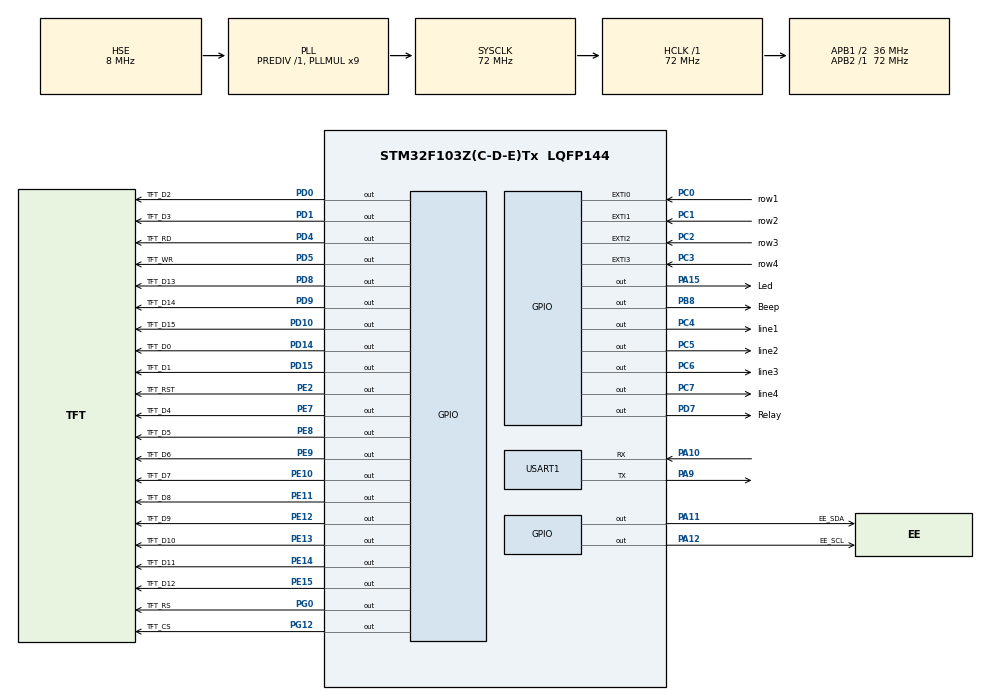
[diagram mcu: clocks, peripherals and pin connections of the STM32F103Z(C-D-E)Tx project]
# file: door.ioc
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FREERTOS.Queues01=Alarmmsg,10,uint16_t,0,Dynamic,NULL,NULL;Settimee,4,uint16_t,0,Dynamic,NULL,NULL;Display,16,uint16_t,0,Dynamic,NULL,NULL;sleep,4,uint16_t,0,Dynamic,NULL,NULL
FREERTOS.Tasks01=defaultTask,24,128,StartDefaultTask,Default,NULL,Dynamic,NULL,NULL;WarnLock,17,192,WarnLocktask,Default,NULL,Dynamic,NULL,NULL;key_scan,16,192,key_scantask,Default,NULL,Dynamic,NULL,NULL;Manage,16,256,ManageTask,Default,NULL,Dynamic,NULL,NULL;Openkey,15,256,OpenkeyTask,Default,NULL,Dynamic,NULL,NULL;Show,13,256,ShowTask,Default,NULL,Dynamic,NULL,NULL;Time,8,128,TimeTask,Default,NULL,Dynamic,NULL,NULL;Sleep,8,128,SleepTask,Default,NULL,Dynamic,NULL,NULL;Initial,8,128,InitialTask,Default,NULL,Dynamic,NULL,NULL
FREERTOS.Timers01=Alarm,alarmback01,osTimerOnce,Default,NULL,Dynamic,NULL;Sleeptask,sleepCallback02,osTimerPeriodic,Default,NULL,Dynamic,NULL
FREERTOS.configTOTAL_HEAP_SIZE=32768
Mcu.Family=STM32F1
Mcu.Name=STM32F103Z(C-D-E)Tx
Mcu.Package=LQFP144
NVIC.EXTI0_IRQn=true\:5\:0\:false\:false\:true\:true\:true\:true\:true
NVIC.EXTI1_IRQn=true\:5\:0\:false\:false\:true\:true\:true\:true\:true
NVIC.EXTI2_IRQn=true\:5\:0\:false\:false\:true\:true\:true\:true\:true
NVIC.EXTI3_IRQn=true\:5\:0\:false\:false\:true\:true\:true\:true\:true
NVIC.PriorityGroup=NVIC_PRIORITYGROUP_4
NVIC.RCC_IRQn=true\:5\:0\:true\:false\:true\:true\:true\:false\:true
NVIC.TIM8_UP_IRQn=true\:15\:0\:false\:false\:true\:false\:false\:true\:true
NVIC.TimeBase=TIM8_UP_IRQn
NVIC.TimeBaseIP=TIM8
OSC_IN.Mode=HSE-External-Oscillator
OSC_IN.Signal=RCC_OSC_IN
OSC_OUT.Mode=HSE-External-Oscillator
OSC_OUT.Signal=RCC_OSC_OUT
PA10.Mode=Asynchronous
PA10.Signal=USART1_RX
PA11.GPIO_Label=EE_SDA
PA11.GPIO_PuPd=GPIO_PULLUP
PA11.GPIO_Speed=GPIO_SPEED_FREQ_HIGH
PA11.PinState=GPIO_PIN_SET
PA11.Signal=GPIO_Output
PA12.GPIO_Label=EE_SCL
PA12.GPIO_PuPd=GPIO_PULLUP
PA12.GPIO_Speed=GPIO_SPEED_FREQ_HIGH
PA12.PinState=GPIO_PIN_SET
PA12.Signal=GPIO_Output
PA13.Mode=Serial_Wire
PA13.Signal=SYS_JTMS-SWDIO
PA14.Mode=Serial_Wire
PA14.Signal=SYS_JTCK-SWCLK
PA15.GPIO_Label=Led
PA15.GPIO_Speed=GPIO_SPEED_FREQ_MEDIUM
PA15.PinState=GPIO_PIN_SET
PA15.Signal=GPIO_Output
PA9.Mode=Asynchronous
PA9.Signal=USART1_TX
PB8.GPIO_Label=Beep
PB8.GPIO_Speed=GPIO_SPEED_FREQ_MEDIUM
PB8.PinState=GPIO_PIN_SET
PB8.Signal=GPIO_Output
PC0.GPIO_Label=row1
PC0.GPIO_ModeDefaultEXTI=GPIO_MODE_IT_FALLING
PC0.GPIO_PuPd=GPIO_PULLUP
PC0.Signal=GPXTI0
PC1.GPIO_Label=row2
PC1.GPIO_ModeDefaultEXTI=GPIO_MODE_IT_FALLING
PC1.GPIO_PuPd=GPIO_PULLUP
PC1.Signal=GPXTI1
PC14-OSC32_IN.Mode=LSE-External-Oscillator
PC14-OSC32_IN.Signal=RCC_OSC32_IN
PC15-OSC32_OUT.Mode=LSE-External-Oscillator
PC15-OSC32_OUT.Signal=RCC_OSC32_OUT
PC2.GPIO_Label=row3
PC2.GPIO_ModeDefaultEXTI=GPIO_MODE_IT_FALLING
PC2.GPIO_PuPd=GPIO_PULLUP
PC2.Signal=GPXTI2
PC3.GPIO_Label=row4
PC3.GPIO_ModeDefaultEXTI=GPIO_MODE_IT_FALLING
PC3.GPIO_PuPd=GPIO_PULLUP
PC3.Signal=GPXTI3
PC4.GPIO_Label=line1
PC4.GPIO_Speed=GPIO_SPEED_FREQ_MEDIUM
PC4.Signal=GPIO_Output
PC5.GPIO_Label=line2
PC5.GPIO_Speed=GPIO_SPEED_FREQ_MEDIUM
PC5.Signal=GPIO_Output
PC6.GPIO_Label=line3
PC6.GPIO_Speed=GPIO_SPEED_FREQ_MEDIUM
PC6.Signal=GPIO_Output
PC7.GPIO_Label=line4
PC7.GPIO_Speed=GPIO_SPEED_FREQ_MEDIUM
PC7.Signal=GPIO_Output
PD0.GPIO_Label=TFT_D2
PD0.GPIO_Speed=GPIO_SPEED_FREQ_MEDIUM
PD0.PinState=GPIO_PIN_SET
PD0.Signal=GPIO_Output
PD1.GPIO_Label=TFT_D3
PD1.GPIO_Speed=GPIO_SPEED_FREQ_MEDIUM
PD1.Signal=GPIO_Output
PD10.GPIO_Label=TFT_D15
PD10.GPIO_Speed=GPIO_SPEED_FREQ_MEDIUM
PD10.Signal=GPIO_Output
PD14.GPIO_Label=TFT_D0
PD14.GPIO_Speed=GPIO_SPEED_FREQ_MEDIUM
PD14.PinState=GPIO_PIN_SET
PD14.Signal=GPIO_Output
PD15.GPIO_Label=TFT_D1
PD15.GPIO_Speed=GPIO_SPEED_FREQ_MEDIUM
PD15.Signal=GPIO_Output
PD4.GPIO_Label=TFT_RD
PD4.GPIO_Speed=GPIO_SPEED_FREQ_HIGH
PD4.Signal=GPIO_Output
PD5.GPIO_Label=TFT_WR
PD5.GPIO_Speed=GPIO_SPEED_FREQ_HIGH
PD5.Signal=GPIO_Output
PD7.GPIO_Label=Relay
PD7.GPIO_Speed=GPIO_SPEED_FREQ_MEDIUM
PD7.Signal=GPIO_Output
PD8.GPIO_Label=TFT_D13
PD8.GPIO_Speed=GPIO_SPEED_FREQ_MEDIUM
PD8.Signal=GPIO_Output
PD9.GPIO_Label=TFT_D14
PD9.GPIO_Speed=GPIO_SPEED_FREQ_MEDIUM
PD9.Signal=GPIO_Output
PE10.GPIO_Label=TFT_D7
PE10.GPIO_Speed=GPIO_SPEED_FREQ_MEDIUM
PE10.Signal=GPIO_Output
PE11.GPIO_Label=TFT_D8
PE11.GPIO_Speed=GPIO_SPEED_FREQ_MEDIUM
PE11.Signal=GPIO_Output
PE12.GPIO_Label=TFT_D9
PE12.GPIO_Speed=GPIO_SPEED_FREQ_MEDIUM
PE12.Signal=GPIO_Output
PE13.GPIO_Label=TFT_D10
PE13.GPIO_Speed=GPIO_SPEED_FREQ_MEDIUM
PE13.Signal=GPIO_Output
PE14.GPIO_Label=TFT_D11
PE14.GPIO_Speed=GPIO_SPEED_FREQ_MEDIUM
PE14.Signal=GPIO_Output
PE15.GPIO_Label=TFT_D12
PE15.GPIO_Speed=GPIO_SPEED_FREQ_MEDIUM
PE15.Signal=GPIO_Output
PE2.GPIO_Label=TFT_RST
PE2.GPIO_Speed=GPIO_SPEED_FREQ_HIGH
PE2.Signal=GPIO_Output
PE7.GPIO_Label=TFT_D4
PE7.GPIO_Speed=GPIO_SPEED_FREQ_MEDIUM
PE7.PinState=GPIO_PIN_SET
PE7.Signal=GPIO_Output
PE8.GPIO_Label=TFT_D5
PE8.GPIO_Speed=GPIO_SPEED_FREQ_MEDIUM
PE8.Signal=GPIO_Output
PE9.GPIO_Label=TFT_D6
PE9.GPIO_Speed=GPIO_SPEED_FREQ_MEDIUM
PE9.PinState=GPIO_PIN_SET
PE9.Signal=GPIO_Output
PG0.GPIO_Label=TFT_RS
PG0.GPIO_Speed=GPIO_SPEED_FREQ_HIGH
PG0.Signal=GPIO_Output
PG12.GPIO_Label=TFT_CS
PG12.GPIO_Speed=GPIO_SPEED_FREQ_HIGH
PG12.Signal=GPIO_Output
ProjectManager.HeapSize=0x200
ProjectManager.StackSize=0x400
ProjectManager.TargetToolchain=MDK-ARM V5.32
RCC.AHBFreq_Value=72000000
RCC.APB1CLKDivider=RCC_HCLK_DIV2
RCC.APB1Freq_Value=36000000
RCC.APB1TimFreq_Value=72000000
RCC.APB2Freq_Value=72000000
RCC.APB2TimFreq_Value=72000000
RCC.HCLKFreq_Value=72000000
RCC.PLLMUL=RCC_PLL_MUL9
RCC.PLLSourceVirtual=RCC_PLLSOURCE_HSE
RCC.SYSCLKFreq_VALUE=72000000
RCC.SYSCLKSource=RCC_SYSCLKSOURCE_PLLCLK
RCC.USBFreq_Value=72000000
USART1.VirtualMode=VM_ASYNC
VP_FREERTOS_VS_CMSIS_V2.Mode=CMSIS_V2
VP_RTC_VS_RTC_Activate.Mode=RTC_Enabled
VP_RTC_VS_RTC_Calendar.Mode=RTC_Calendar
VP_SYS_VS_tim8.Mode=TIM8
board=custom

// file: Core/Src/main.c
/* USER CODE BEGIN Header */
/**
  ******************************************************************************
  * @file           : main.c
  * @brief          : Main program body
  ******************************************************************************
  * @attention
  *
  * Copyright (c) 2026 STMicroelectronics.
  * All rights reserved.
  *
  * This software is licensed under terms that can be found in the LICENSE file
  * in the root directory of this software component.
  * If no LICENSE file comes with this software, it is provided AS-IS.
  *
  ******************************************************************************
  */
/* USER CODE END Header */
#include "main.h"
#include "cmsis_os.h"
#include "rtc.h"
#include "usart.h"
#include "gpio.h"

/* USER CODE BEGIN Includes */
#include <stdio.h>
/* USER CODE END Includes */

void SystemClock_Config(void);
void MX_FREERTOS_Init(void);

int main(void)
{

  /* MCU Configuration--------------------------------------------------------*/

  /* Reset of all peripherals, Initializes the Flash interface and the Systick. */
  HAL_Init();

  /* Configure the system clock */
  SystemClock_Config();

  /* Initialize all configured peripherals */
  MX_GPIO_Init();
  MX_RTC_Init();
  MX_USART1_UART_Init();

  /* Init scheduler */
  osKernelInitialize();  /* Call init function for freertos objects (in cmsis_os2.c) */
  MX_FREERTOS_Init();

  /* Start scheduler */
  osKernelStart();

  /* We should never get here as control is now taken by the scheduler */

  /* Infinite loop */
  while (1)
  {

  }
}

void SystemClock_Config(void)
{
  RCC_OscInitTypeDef RCC_OscInitStruct = {0};
  RCC_ClkInitTypeDef RCC_ClkInitStruct = {0};
  RCC_PeriphCLKInitTypeDef PeriphClkInit = {0};

  /** Initializes the RCC Oscillators according to the specified parameters
  * in the RCC_OscInitTypeDef structure.
  */
  RCC_OscInitStruct.OscillatorType = RCC_OSCILLATORTYPE_LSI|RCC_OSCILLATORTYPE_HSE;
  RCC_OscInitStruct.HSEState = RCC_HSE_ON;
  RCC_OscInitStruct.HSEPredivValue = RCC_HSE_PREDIV_DIV1;
  RCC_OscInitStruct.HSIState = RCC_HSI_ON;
  RCC_OscInitStruct.LSIState = RCC_LSI_ON;
  RCC_OscInitStruct.PLL.PLLState = RCC_PLL_ON;
  RCC_OscInitStruct.PLL.PLLSource = RCC_PLLSOURCE_HSE;
  RCC_OscInitStruct.PLL.PLLMUL = RCC_PLL_MUL9;
  if (HAL_RCC_OscConfig(&RCC_OscInitStruct) != HAL_OK)
  {
    Error_Handler();
  }

  /** Initializes the CPU, AHB and APB buses clocks
  */
  RCC_ClkInitStruct.ClockType = RCC_CLOCKTYPE_HCLK|RCC_CLOCKTYPE_SYSCLK
                              |RCC_CLOCKTYPE_PCLK1|RCC_CLOCKTYPE_PCLK2;
  RCC_ClkInitStruct.SYSCLKSource = RCC_SYSCLKSOURCE_PLLCLK;
  RCC_ClkInitStruct.AHBCLKDivider = RCC_SYSCLK_DIV1;
  RCC_ClkInitStruct.APB1CLKDivider = RCC_HCLK_DIV2;
  RCC_ClkInitStruct.APB2CLKDivider = RCC_HCLK_DIV1;

  if (HAL_RCC_ClockConfig(&RCC_ClkInitStruct, FLASH_LATENCY_2) != HAL_OK)
  {
    Error_Handler();
  }
  PeriphClkInit.PeriphClockSelection = RCC_PERIPHCLK_RTC;
  PeriphClkInit.RTCClockSelection = RCC_RTCCLKSOURCE_LSI;
  if (HAL_RCCEx_PeriphCLKConfig(&PeriphClkInit) != HAL_OK)
  {
    Error_Handler();
  }
}

/* USER CODE BEGIN 4 */
int fputc(int ch, FILE *f) {
HAL_UART_Transmit(&huart1, (uint8_t *)&ch, 1, 0xffff);
return ch;
}
/* USER CODE END 4 */

void HAL_TIM_PeriodElapsedCallback(TIM_HandleTypeDef *htim)
{
  if (htim->Instance == TIM8)
  {
    HAL_IncTick();
  }
}

void Error_Handler(void)
{
  __disable_irq();
  while (1)
  {
  }
}

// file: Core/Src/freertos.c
/* USER CODE BEGIN Header */
/**
  ******************************************************************************
  * File Name          : freertos.c
  * Description        : Code for freertos applications
  ******************************************************************************
  * @attention
  *
  * Copyright (c) 2026 STMicroelectronics.
  * All rights reserved.
  *
  * This software is licensed under terms that can be found in the LICENSE file
  * in the root directory of this software component.
  * If no LICENSE file comes with this software, it is provided AS-IS.
  *
  ******************************************************************************
  */
/* USER CODE END Header */

#include "FreeRTOS.h"
#include "task.h"
#include "main.h"
#include "cmsis_os.h"

/* USER CODE BEGIN Includes */
#include "ME.h"
#include "tft_lcd.h"
#include "alarm.h"
#include "app_global.h"
#include "app_define.h"
#include "rtc.h"
#include "eeprom.h"
#include <string.h>
#include <stdio.h>
/* USER CODE END Includes */

/* USER CODE BEGIN PD */
#define RTC_UPDATE_INTERVAL     1000
/* USER CODE END PD */

/* USER CODE BEGIN Variables */
uint16_t sel=0;//dispalyselect
char g_TimeStr[16];
char g_PasswordDisplay[16];
uint16_t manage=0;
static DisplayMsg_TypeDef g_LastMsg = DISPLAY_MSG_MAIN;
uint32_t lastsleepTime = 0;
/* USER CODE END Variables */
/* Definitions for defaultTask */
osThreadId_t defaultTaskHandle;
const osThreadAttr_t defaultTask_attributes = {
  .name = "defaultTask",
  .stack_size = 128 * 4,
  .priority = (osPriority_t) osPriorityNormal,
};
/* Definitions for WarnLock */
osThreadId_t WarnLockHandle;
const osThreadAttr_t WarnLock_attributes = {
  .name = "WarnLock",
  .stack_size = 192 * 4,
  .priority = (osPriority_t) osPriorityBelowNormal1,
};
/* Definitions for key_scan */
osThreadId_t key_scanHandle;
const osThreadAttr_t key_scan_attributes = {
  .name = "key_scan",
  .stack_size = 192 * 4,
  .priority = (osPriority_t) osPriorityBelowNormal,
};
/* Definitions for Manage */
osThreadId_t ManageHandle;
const osThreadAttr_t Manage_attributes = {
  .name = "Manage",
  .stack_size = 256 * 4,
  .priority = (osPriority_t) osPriorityBelowNormal,
};
/* Definitions for Openkey */
osThreadId_t OpenkeyHandle;
const osThreadAttr_t Openkey_attributes = {
  .name = "Openkey",
  .stack_size = 256 * 4,
  .priority = (osPriority_t) osPriorityLow7,
};
/* Definitions for Show */
osThreadId_t ShowHandle;
const osThreadAttr_t Show_attributes = {
  .name = "Show",
  .stack_size = 256 * 4,
  .priority = (osPriority_t) osPriorityLow5,
};
/* Definitions for Time */
osThreadId_t TimeHandle;
const osThreadAttr_t Time_attributes = {
  .name = "Time",
  .stack_size = 128 * 4,
  .priority = (osPriority_t) osPriorityLow,
};
/* Definitions for Sleep */
osThreadId_t SleepHandle;
const osThreadAttr_t Sleep_attributes = {
  .name = "Sleep",
  .stack_size = 128 * 4,
  .priority = (osPriority_t) osPriorityLow,
};
/* Definitions for Initial */
osThreadId_t InitialHandle;
const osThreadAttr_t Initial_attributes = {
  .name = "Initial",
  .stack_size = 128 * 4,
  .priority = (osPriority_t) osPriorityLow,
};
/* Definitions for Alarmmsg */
osMessageQueueId_t AlarmmsgHandle;
const osMessageQueueAttr_t Alarmmsg_attributes = {
  .name = "Alarmmsg"
};
/* Definitions for Settimee */
osMessageQueueId_t SettimeeHandle;
const osMessageQueueAttr_t Settimee_attributes = {
  .name = "Settimee"
};
/* Definitions for Display */
osMessageQueueId_t DisplayHandle;
const osMessageQueueAttr_t Display_attributes = {
  .name = "Display"
};
/* Definitions for sleep */
osMessageQueueId_t sleepHandle;
const osMessageQueueAttr_t sleep_attributes = {
  .name = "sleep"
};
/* Definitions for Alarm */
osTimerId_t AlarmHandle;
const osTimerAttr_t Alarm_attributes = {
  .name = "Alarm"
};
/* Definitions for Sleeptask */
osTimerId_t SleeptaskHandle;
const osTimerAttr_t Sleeptask_attributes = {
  .name = "Sleeptask"
};

/* USER CODE BEGIN FunctionPrototypes */
void Alarm_PlayUnlockSuccess(void);
void Alarm_PlayWrongPassword(void);
void Alarm_PlayTimeout(void);
void Alarm_PlayAdminSuccess(void);
void Alarm_PlayLocked(void);
/* USER CODE END FunctionPrototypes */

void StartDefaultTask(void *argument);
void WarnLocktask(void *argument);
void key_scantask(void *argument);
void ManageTask(void *argument);
void OpenkeyTask(void *argument);
void ShowTask(void *argument);
void TimeTask(void *argument);
void SleepTask(void *argument);
void InitialTask(void *argument);
void alarmback01(void *argument);
void sleepCallback02(void *argument);

void MX_FREERTOS_Init(void); /* (MISRA C 2004 rule 8.1) */

void MX_FREERTOS_Init(void) {

  /* Create the timer(s) */
  /* creation of Alarm */
  AlarmHandle = osTimerNew(alarmback01, osTimerOnce, NULL, &Alarm_attributes);

  /* creation of Sleeptask */
  SleeptaskHandle = osTimerNew(sleepCallback02, osTimerPeriodic, NULL, &Sleeptask_attributes);

  /* Create the queue(s) */
  /* creation of Alarmmsg */
  AlarmmsgHandle = osMessageQueueNew (10, sizeof(uint16_t), &Alarmmsg_attributes);

  /* creation of Settimee */
  SettimeeHandle = osMessageQueueNew (4, sizeof(uint16_t), &Settimee_attributes);

  /* creation of Display */
  DisplayHandle = osMessageQueueNew (16, sizeof(uint16_t), &Display_attributes);

  /* creation of sleep */
  sleepHandle = osMessageQueueNew (4, sizeof(uint16_t), &sleep_attributes);

  /* Create the thread(s) */
  /* creation of defaultTask */
  defaultTaskHandle = osThreadNew(StartDefaultTask, NULL, &defaultTask_attributes);

  /* creation of Initial */
  InitialHandle = osThreadNew(InitialTask, NULL, &Initial_attributes);

}

void StartDefaultTask(void *argument)
{
  /* USER CODE BEGIN StartDefaultTask */
  /* Infinite loop */
  for(;;)
  {
    osDelay(5000);
  }
  /* USER CODE END StartDefaultTask */
}

void WarnLocktask(void *argument)
{
  /* USER CODE BEGIN WarnLocktask */

	AlarmMessage_TypeDef alarm_msg;
    portBASE_TYPE xStatus;
	osTimerStart(AlarmHandle,200);
  /* Infinite loop */
  for(;;)
  {
		xStatus = osMessageQueueGet(AlarmmsgHandle,&alarm_msg,NULL,portMAX_DELAY);
		 if (xStatus == osOK) {
            /* Process alarm command */
            switch (alarm_msg.command) {
                case ALARM_CMD_BEEP:
                    /* Single beep */
                    Buzzer_Beep(alarm_msg.duration);
                    break;

                case ALARM_CMD_BEEP_PATTERN:
                    /* Multiple beeps */
                    Buzzer_BeepPattern(alarm_msg.pattern);
                    break;

                case ALARM_CMD_LED_ON:
                    /* LED on */
                    LED_ON();
                    break;

                case ALARM_CMD_LED_OFF:
                    /* LED off */
                    LED_OFF();
                    break;

                case ALARM_CMD_LED_BLINK:
                    /* LED blink pattern */
                    LED_Blink(alarm_msg.duration, BEEP_INTERVAL, alarm_msg.pattern);
                    break;

                case ALARM_CMD_UNLOCK_SUCCESS:
                    /* Unlock success: 1 beep + 1 second LED */
                    Buzzer_Beep(BEEP_DURATION_LONG);
                    LED_Blink(LED_PATTERN_UNLOCK * 1000, 0, 1);
                    break;

                case ALARM_CMD_WRONG_PASSWORD:
                    /* Wrong password: 3 beeps + 2 second LED */
                    Buzzer_BeepPattern(BEEP_PATTERN_WRONG_PASSWORD);
                    LED_Blink(LED_PATTERN_WRONG_PASSWORD * 1000, BEEP_INTERVAL, 1);
                    break;

                case ALARM_CMD_TIMEOUT:
                    /* Timeout: 1 short beep */
                    Buzzer_Beep(BEEP_DURATION_SHORT);
                    break;

                case ALARM_CMD_ADMIN_SUCCESS:
                    /* Admin login success: 2 beeps */
                    Buzzer_BeepPattern(BEEP_PATTERN_ADMIN_SUCCESS);
                    break;

                case ALARM_CMD_LOCKED:
                    /* System locked: rapid LED blink for 5 seconds */
                    LED_Blink(500, 500, LED_PATTERN_LOCKED);
                    break;

                default:
                    break;
            }
        }
    osDelay(1);
  }
  /* USER CODE END WarnLocktask */
}

void key_scantask(void *argument)
{
  for(;;)
  {
    osDelay(1);
	}
}

void ManageTask(void *argument)
{
  /* USER CODE BEGIN ManageTask */
	uint32_t lastCheckTime = 0;
  uint32_t currentTime;
	uint16_t cont=0;
  AdminMsg_Type adminMsg;
	char managePassword[PASSWORD_LENGTH + 1];
  osStatus_t status;
  /* Infinite loop */

  for(;;)
  {
		currentTime = osKernelGetTickCount();

    if ((currentTime - lastCheckTime) >= 100)
    {
			 status = osMessageQueueGet(SettimeeHandle, &adminMsg, NULL, 0);

			switch (adminMsg.cmd)
			{
				case ADMIN_CMD_EXIT:
					if(cont!=1){
				  manage = 0;
					TFT_Clear(TFT_COLOR_WHITE);//repair
					DisplayMsg_Type msg;
          msg.msgType = DISPLAY_MSG_MAIN;
          msg.timestamp = currentTime;
          memset(msg.msgData, 0, sizeof(msg.msgData));
          if (DisplayHandle != NULL)
          {
            osMessageQueuePut(DisplayHandle, &msg, 0, 0);
          }
					cont=1;
				}
						break;

				case ADMIN_CMD_MODIFY_PASSWORD:
					if(cont!=2){if(manage){
					  DisplayMsg_Type msg;
            msg.msgType = DISPLAY_MSG_PASSWORD_CHANGE;
            msg.timestamp = currentTime;
            snprintf(msg.msgData, sizeof(msg.msgData), "MODIFY OK");
					if (DisplayHandle != NULL)
          {
            osMessageQueuePut(DisplayHandle, &msg, 0, 0);
          }
				   }
					cont=2;
				}
					break;
				case ADMIN_CMD_NONE:if(cont!=3){cont=3;}break;
			}

			if(g_InputIndex==PASSWORD_LENGTH&&manage)
					{

						DisplayMsg_Type msg2;
          msg2.msgType = DISPLAY_MSG_CHANGE_SUCCESS;
          msg2.timestamp = currentTime;
          memset(msg2.msgData, 0, sizeof(msg2.msgData));

          if (DisplayHandle != NULL)
          {
						sel=1;
            osMessageQueuePut(DisplayHandle, &msg2, 0, 0);
          }
					Alarm_PlayLocked();
					strncpy(g_Passwords, g_InputBuffer, PASSWORD_LENGTH);
					EEPROM_WriteBuffer(0, (uint8_t *)g_InputBuffer, PASSWORD_LENGTH);
					memset(g_InputBuffer, 0, sizeof(g_InputBuffer));
          g_InputIndex = 0;
					}
		lastCheckTime = currentTime;
		}

    osDelay(1);
  }
  /* USER CODE END ManageTask */
}

void OpenkeyTask(void *argument)
{
  /* USER CODE BEGIN OpenkeyTask */
	uint32_t lastCheckTime = 0;
  uint32_t currentTime;
  uint8_t passwordVerified = 0;
  char storedPassword[PASSWORD_LENGTH+1];
	char Password[PASSWORD_LENGTH+1]="123456";
	Password[PASSWORD_LENGTH]='\0';

  /* Infinite loop */
  for(;;)
  {
		 currentTime = osKernelGetTickCount();

    if ((currentTime - lastCheckTime) >= 100)
    {
      if (g_InputIndex == PASSWORD_LENGTH&&manage==0)
      {
        //EEPROM_ReadBuffer(0, (uint8_t *)storedPassword, PASSWORD_LENGTH);
        //storedPassword[PASSWORD_LENGTH] = '\0';
				//strncmp(g_Passwords,storedPassword , PASSWORD_LENGTH);
				 //g_Passwords[PASSWORD_LENGTH] = '\0';

        if (strncmp(g_InputBuffer,g_Passwords , PASSWORD_LENGTH) == 0)
        {
          passwordVerified = 1;
          g_ErrorCount = 0; /*  */

          DisplayMsg_Type msg;
          msg.msgType = DISPLAY_MSG_UNLOCK_SUCCESS;
          msg.timestamp = currentTime;
          memset(msg.msgData, 0, sizeof(msg.msgData));

          if (DisplayHandle != NULL)
          {
						sel=1;
            osMessageQueuePut(DisplayHandle, &msg, 0, 0);
          }

          osDelay(4000);

          HAL_GPIO_WritePin(Relay_GPIO_Port, Relay_Pin, GPIO_PIN_SET);

          memset(g_InputBuffer, 0, sizeof(g_InputBuffer));
          g_InputIndex = 0;
        }
        else
        {

          passwordVerified = 0;
          g_ErrorCount++;

          DisplayMsg_Type msg;
          msg.msgType = DISPLAY_MSG_PASSWORD_ERROR;
          msg.timestamp = currentTime;
          memset(msg.msgData, 0, sizeof(msg.msgData));

          if (DisplayHandle != NULL)
          {
						sel=1;
            osMessageQueuePut(DisplayHandle, &msg, 0, 0);
          }

          Alarm_PlayWrongPassword();

          memset(g_InputBuffer, 0, sizeof(g_InputBuffer));
          g_InputIndex = 0;

          if (g_ErrorCount >= MAX_ERROR_COUNT)
          {
            g_LockFlag = 1;

            msg.msgType = DISPLAY_MSG_SYSTEM_LOCKED;
            msg.timestamp = currentTime;
            memset(msg.msgData, 0, sizeof(msg.msgData));

            if (DisplayHandle != NULL)
            {
              osMessageQueuePut(DisplayHandle, &msg, 0, 0);
            }

            osDelay(ERROR_LOCK_TIME);
            g_LockFlag = 0;
            g_ErrorCount = 0;
          }
        }
      }

      lastCheckTime = currentTime;
    }
    osDelay(1);
  }
  /* USER CODE END OpenkeyTask */
}

void ShowTask(void *argument)
{
  /* USER CODE BEGIN ShowTask */

	  uint16_t sel1=0;
	  uint8_t lastInputIndex = 0;
	  DisplayMsg_Type msg;
    osStatus_t status;
    snprintf(g_TimeStr, sizeof(g_TimeStr), "%02d:%02d:%02d",
             g_CurrentTime.Hours, g_CurrentTime.Minutes, g_CurrentTime.Seconds);
  /* Infinite loop */
  for(;;)
  {
		 status = osMessageQueueGet(DisplayHandle, &msg, NULL, 10);

        if(status == osOK) {

            g_LastMsg = msg.msgType;
            g_DisplayMsg = msg.msgType;
            g_DisplayUpdate = 1;
        }

        osMutexAcquire(g_DisplayMutexHandle, osWaitForever);

        if(g_SystemState == SYSTEM_STATE_SLEEP) {
            if(g_DisplayMsg != DISPLAY_MSG_SLEEP) {
                //LCD_Sleep();
            }
        } else {
            if(g_DisplayMsg == DISPLAY_MSG_SLEEP ||
               g_DisplayMsg == DISPLAY_MSG_WAKEUP) {
                //LCD_Wakeup();

            }

            switch(g_DisplayMsg) {
        case DISPLAY_MSG_MAIN:
					if(sel!=1)
					{LCD_ShowMainInterface();sel=1;sel1=0;}
          //LCD_ShowMainInterface();
          break;

        case DISPLAY_MSG_UNLOCK_SUCCESS:
					if(sel!=2)
					{LCD_ShowUnlockSuccess();sel=2;sel1=0;HAL_GPIO_WritePin(Relay_GPIO_Port, Relay_Pin, GPIO_PIN_RESET);
						Alarm_PlayUnlockSuccess();}
          //LCD_ShowUnlockSuccess();
          break;

        case DISPLAY_MSG_PASSWORD_ERROR:
					if(sel!=3)
					{LCD_ShowPasswordError();sel=3;sel1=0;}
          //LCD_ShowPasswordError();
          break;

        case DISPLAY_MSG_SYSTEM_LOCKED:
					if(sel!=4)
					{LCD_ShowSystemLocked();sel=4;sel1=0;
					Alarm_PlayLocked();}
          //LCD_ShowSystemLocked();
          break;

        case DISPLAY_MSG_ADMIN_MODE:
					if(sel!=5)
					{LCD_ShowAdminMode();sel=5;sel1=0;}
          //LCD_ShowAdminMode();
          break;

        case DISPLAY_MSG_PASSWORD_CHANGE:
					if(sel!=6)
					{LCD_ShowPasswordChangeResult(msg.msgData);sel=6;sel1=0;}
          //LCD_ShowPasswordChangeResult(msg.msgData);
          break;

        case DISPLAY_MSG_CHANGE_SUCCESS:
					if(sel!=7)
					{LCD_ShowChange();manage=0;sel=7;sel1=0;}
          //LCD_ShowTimeSetInterface();
          break;

        case DISPLAY_MSG_SLEEP:
					if(sel!=8)
					{TFT_Clear(TFT_COLOR_BLACK);sel=8;
					sel1=0;}
          //LCD_ShowSleepMode();
          break;

        case DISPLAY_MSG_INPUT_TIMEOUT:
					if(sel!=9)
					{LCD_ShowTimeout();Alarm_PlayTimeout();osDelay(500);TFT_Clear(TFT_COLOR_WHITE);
					osDelay(500);g_DisplayMsg = DISPLAY_MSG_MAIN;sel=9;sel1=0;}
          //LCD_ShowWakeUp();
          //osDelay(1000);
          //g_DisplayMsg = DISPLAY_MSG_MAIN;
          break;

        default:
					if(sel!=1)
					{LCD_ShowMainInterface();sel=1;sel1=0;}
          //LCD_ShowMainInterface();
          break;
            }
			snprintf(g_TimeStr, sizeof(g_TimeStr), "%02d:%02d:%02d",
      g_CurrentTime.Hours, g_CurrentTime.Minutes, g_CurrentTime.Seconds);
      LCD_ShowTime(g_TimeStr);

      if (g_InputIndex > 0) {

			if(sel1!=10){TFT_Clear(TFT_COLOR_WHITE);sel1=10;}

      if (g_InputIndex != lastInputIndex&&manage==0)
         {

          LCD_ShowPasswordInput(g_InputBuffer, g_InputIndex);
					lastInputIndex = g_InputIndex;
         }
      else if (g_InputIndex != lastInputIndex&&manage==1)
         {
          LCD_ShowPasswordmanage(g_InputBuffer, g_InputIndex);
					lastInputIndex = g_InputIndex;
         }

        }
			}
        osMutexRelease(g_DisplayMutexHandle);
    osDelay(1);
  }
  /* USER CODE END ShowTask */
}

void TimeTask(void *argument)
{
  /* USER CODE BEGIN TimeTask */
	uint32_t lastUpdateTime = 0;
  /* Infinite loop */
  for(;;)
  {

		uint32_t currentTime = osKernelGetTickCount();

        if((currentTime - lastUpdateTime) >= RTC_UPDATE_INTERVAL) {
            HAL_RTC_GetTime(&hrtc, &g_CurrentTime, RTC_FORMAT_BIN);
            HAL_RTC_GetDate(&hrtc, &g_CurrentDate, RTC_FORMAT_BIN);
            snprintf(g_TimeStr, sizeof(g_TimeStr), "%02d:%02d:%02d",
                     g_CurrentTime.Hours, g_CurrentTime.Minutes, g_CurrentTime.Seconds);
            g_DisplayUpdate = 1;
            lastUpdateTime = currentTime;
          }

    osDelay(1);
  }
  /* USER CODE END TimeTask */
}

void SleepTask(void *argument)
{
  /* USER CODE BEGIN SleepTask */
	SleepMsg_Type msg;
	uint32_t currentTime;
	SleepCmd_TypeDef g_slpmsg = SLEEP_CMD_NONE;
  /* Infinite loop */
  for(;;)
  {
		currentTime = osKernelGetTickCount();
		if ((currentTime - lastsleepTime) >= 11000)
		{
			  memset(g_InputBuffer, 0, sizeof(g_InputBuffer));
        g_InputIndex = 0;
			  //sel=0;
	      DisplayMsg_Type msg;
        msg.msgType = DISPLAY_MSG_SLEEP;
        msg.timestamp = currentTime;
        memset(msg.msgData, 0, sizeof(msg.msgData));

        if (DisplayHandle != NULL)
        {
	  			sel=1;
          osMessageQueuePut(DisplayHandle, &msg, 0, 0);
        }

		}
		else if((currentTime - lastsleepTime) >= 5000&&g_InputIndex>0)
		{
			  memset(g_InputBuffer, 0, sizeof(g_InputBuffer));
        g_InputIndex = 0;
			  //sel=0;
	      DisplayMsg_Type msg;
        msg.msgType = DISPLAY_MSG_INPUT_TIMEOUT;
        msg.timestamp = currentTime;
        memset(msg.msgData, 0, sizeof(msg.msgData));

        if (DisplayHandle != NULL)
        {
	  			sel=1;
          osMessageQueuePut(DisplayHandle, &msg, 0, 0);
        }

		}

      osMessageQueueGet(sleepHandle, &msg, NULL, 10);
		    g_slpmsg=msg.cmd;
        switch(g_slpmsg)
				{
					case SLEEP_CMD_NONE :break;
	        case SLEEP_CMD_START :lastsleepTime = osKernelGetTickCount();
					SleepMsg_Type slpmsg;
			    slpmsg.cmd = SLEEP_CMD_NONE;
			    if (sleepHandle != NULL)
          {
            osMessageQueuePut(sleepHandle, &slpmsg, 0, 0);
          }

					break;
				}

    osDelay(1);
  }
  /* USER CODE END SleepTask */
}

void InitialTask(void *argument)
{

  /* USER CODE BEGIN InitialTask */
  char defaultPassword[PASSWORD_LENGTH + 1] = "123456"; // ????
  char storedPassword[PASSWORD_LENGTH + 1];
	//defaultPassword[PASSWORD_LENGTH]='\0';
  uint8_t i;

  TFT_Init();

  MX_RTC_Init();

  EEPROM_Init();

	RTC_TimeTypeDef time;
	RTC_DateTypeDef date;
	time.Hours=20;
	time.Minutes=26;
	time.Seconds=20;
	date.Year=26;
	date.Month=4;
	date.Date=13;
	//__HAL_RTC_WRITEPROTECTION_DISABLE(&hrtc);
	//HAL_RTC_SetTime(&hrtc, &time, RTC_FORMAT_BIN);
  //HAL_RTC_SetDate(&hrtc, &date, RTC_FORMAT_BIN);
	//__HAL_RTC_WRITEPROTECTION_ENABLE(&hrtc);//Initial time;

  LCD_start();
	TFT_Clear(TFT_COLOR_WHITE);

	EEPROM_ReadBuffer(0, (uint8_t *)storedPassword, PASSWORD_LENGTH);
  storedPassword[PASSWORD_LENGTH] = '\0';
  //EEPROM_WriteBuffer(0, (uint8_t *)defaultPassword, PASSWORD_LENGTH);
  //EEPROM_ReadBuffer(0, (uint8_t *)storedPassword, PASSWORD_LENGTH);
  //storedPassword[PASSWORD_LENGTH] = '\0';

  uint16_t isEmpty = 1;
  for (i = 0; i < PASSWORD_LENGTH; i++) {
    if (storedPassword[i] != -1 && storedPassword[i] != 0x00) {
      isEmpty = 0;
      break;
    }
  }

 if (isEmpty) {
    EEPROM_WriteBuffer(0, (uint8_t *)defaultPassword, PASSWORD_LENGTH);
    strncpy(g_Passwords, defaultPassword, PASSWORD_LENGTH);
    g_PasswordCount = 1;
  } else {

    strncpy(g_Passwords, storedPassword, PASSWORD_LENGTH);
    g_PasswordCount = 1;
  }
  lastsleepTime = osKernelGetTickCount();

	  /* creation of WarnLock */
  WarnLockHandle = osThreadNew(WarnLocktask, NULL, &WarnLock_attributes);

  /* creation of key_scan */
  key_scanHandle = osThreadNew(key_scantask, NULL, &key_scan_attributes);

  /* creation of Manage */
  ManageHandle = osThreadNew(ManageTask, NULL, &Manage_attributes);

  /* creation of Openkey */
  OpenkeyHandle = osThreadNew(OpenkeyTask, NULL, &Openkey_attributes);

  /* creation of Show */
  ShowHandle = osThreadNew(ShowTask, NULL, &Show_attributes);

  /* creation of Time */
  TimeHandle = osThreadNew(TimeTask, NULL, &Time_attributes);

  /* creation of Sleep */
  SleepHandle = osThreadNew(SleepTask, NULL, &Sleep_attributes);

  HAL_GPIO_WritePin(Relay_GPIO_Port, Relay_Pin, GPIO_PIN_SET);

  g_SystemState = SYSTEM_STATE_IDLE;
  g_ErrorCount = 0;
  g_LockFlag = 0;
  g_SleepFlag = 0;
  g_AdminMode = 0;

  DisplayMsg_Type msg;
  msg.msgType = DISPLAY_MSG_MAIN;
  msg.timestamp = osKernelGetTickCount();
  memset(msg.msgData, 0, sizeof(msg.msgData));

  if (DisplayHandle != NULL) {
    osMessageQueuePut(DisplayHandle, &msg, 0, 0);
  }

  vTaskDelete(NULL);

  /* Infinite loop */

  for(;;)
  {
    osDelay(1);
  }
  /* USER CODE END InitialTask */
}

/* alarmback01 function */
void alarmback01(void *argument)
{
  /* USER CODE BEGIN alarmback01 */
HAL_GPIO_WritePin(Led_GPIO_Port, Led_Pin, GPIO_PIN_SET);
  /* USER CODE END alarmback01 */
}

/* sleepCallback02 function */
void sleepCallback02(void *argument)
{
  /* USER CODE BEGIN sleepCallback02 */

   memset(g_InputBuffer, 0, sizeof(g_InputBuffer));
   g_InputIndex = 0;
  /* USER CODE END sleepCallback02 */
}

/* USER CODE BEGIN Application */
void Alarm_SendCommand(AlarmCommand_TypeDef command, uint16_t duration, uint8_t pattern)
{
    AlarmMessage_TypeDef msg;
    msg.command = command;
    msg.duration = duration;
    msg.pattern = pattern;

    if (AlarmmsgHandle != NULL) {
        osMessageQueuePut(AlarmmsgHandle, &msg,NULL, portMAX_DELAY);
    }
}

/*===========================================
 * Helper Functions for Other Tasks
 *===========================================*/

/**
 * @brief  Play unlock success alarm
 * @retval None
 */
void Alarm_PlayUnlockSuccess(void)
{
    Alarm_SendCommand(ALARM_CMD_UNLOCK_SUCCESS, BEEP_DURATION_LONG, 1);
}

/**
 * @brief  Play wrong password alarm
 * @retval None
 */
void Alarm_PlayWrongPassword(void)
{
    Alarm_SendCommand(ALARM_CMD_WRONG_PASSWORD, BEEP_DURATION_SHORT, BEEP_PATTERN_WRONG_PASSWORD);
}

/**
 * @brief  Play timeout alarm
 * @retval None
 */
void Alarm_PlayTimeout(void)
{
    Alarm_SendCommand(ALARM_CMD_TIMEOUT, BEEP_DURATION_SHORT, 1);
}

/**
 * @brief  Play admin success alarm
 * @retval None
 */
void Alarm_PlayAdminSuccess(void)
{
    Alarm_SendCommand(ALARM_CMD_ADMIN_SUCCESS, BEEP_DURATION_SHORT, BEEP_PATTERN_ADMIN_SUCCESS);
}

/**
 * @brief  Play locked alarm
 * @retval None
 */
void Alarm_PlayLocked(void)
{
    Alarm_SendCommand(ALARM_CMD_LOCKED, 500, LED_PATTERN_LOCKED);
}

/* USER CODE END Application */
